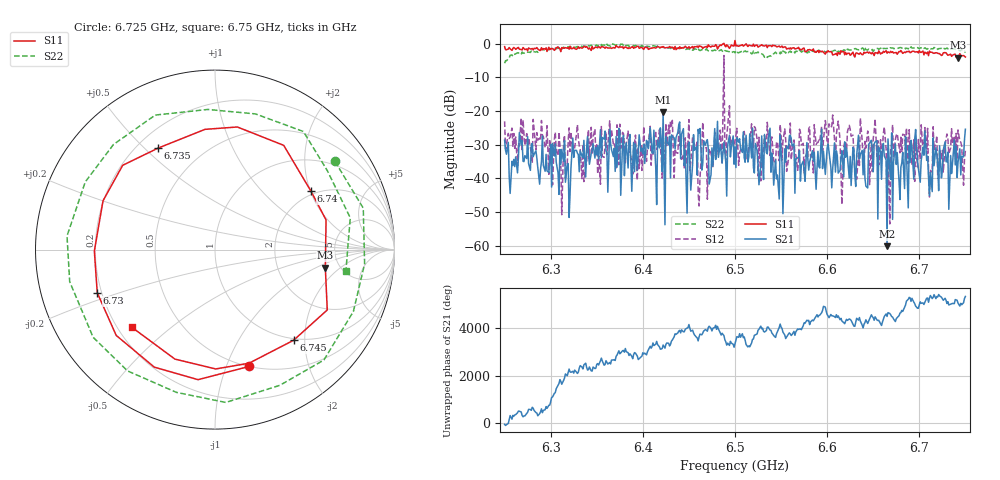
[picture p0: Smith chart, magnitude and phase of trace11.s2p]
# Hz S RI R 50
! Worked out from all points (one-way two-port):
!   401 points, 6.25 GHz to 6.75 GHz, reference 50 ohm
!   highest |S21| = -20.37 dB at 6.422 GHz (marker M1); lowest = -60.1 dB at 6.665 GHz (marker M2)
!   lowest |S11| = -4.1 dB at 6.742 GHz (marker M3), VSWR 4.30, Z = 193 - j63.2 ohm
!   |S11| at or under -10 dB: nowhere
!   |S22| runs from -5.8 to -0.1 dB; largest |S21 - S12| = 0.65
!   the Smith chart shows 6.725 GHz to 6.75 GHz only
!   S11 on the Smith chart (normalised r, x): 6.725 GHz: 0.50, -1.21; 6.73 GHz: 0.18, -0.17; 6.735 GHz: 0.28, +0.55; 6.74 GHz: 1.88, +2.02; 6.745 GHz: 0.97, -1.77; 6.75 GHz: 0.26, -0.37
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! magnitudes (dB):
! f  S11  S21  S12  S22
! 6.25 GHz  -0.9  -28.6  -23.1  -5.8
! 6.319 GHz  -1.1  -35.6  -28.9  -0.9
! 6.334 GHz  -1.4  -33.4  -40.1  -0.8
! 6.418 GHz  -1.1  -30.9  -25.5  -1.3
! 6.422 GHz  -0.9  -20.4  -25.1  -1.1
! 6.5 GHz  0.9  -30.7  -28.9  -2.7
! 6.584 GHz  -2.0  -31.8  -33.5  -2.2
! 6.605 GHz  -2.5  -42.8  -24.4  -2.4
! 6.618 GHz  -2.3  -39.6  -30.7  -1.8
! 6.625 GHz  -3.4  -33.5  -25.4  -1.9
! 6.632 GHz  -2.7  -33.2  -40.2  -1.7
! 6.652 GHz  -2.7  -29.2  -22.3  -1.6
! 6.665 GHz  -2.8  -60.1  -50.0  -1.3
! 6.668 GHz  -2.7  -37.6  -53.5  -1.3
! 6.674 GHz  -2.7  -29.8  -28.5  -1.4
! 6.725 GHz  -3.4  -37.7  -31.7  -1.6
! 6.73 GHz  -3.1  -35.1  -26.8  -1.3
! 6.735 GHz  -3.8  -38.5  -25.3  -1.6
! 6.74 GHz  -4.1  -30.5  -26.6  -1.8
! 6.742 GHz  -4.1  -35.3  -25.6  -1.7
! 6.745 GHz  -3.5  -39.0  -29.3  -2.1
! 6.75 GHz  -4.0  -25.4  -31.8  -2.6
